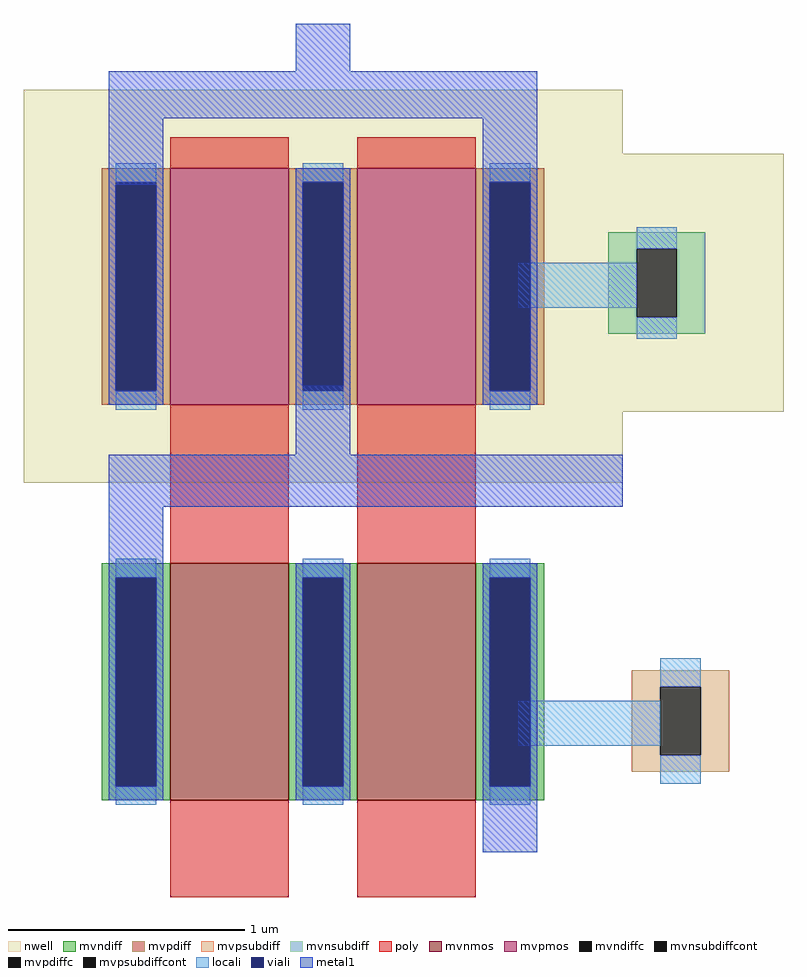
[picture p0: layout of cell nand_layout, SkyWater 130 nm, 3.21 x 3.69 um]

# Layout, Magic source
magic
tech sky130A
magscale 1 2
<< nwell >>
rect 202 -178 708 -124
rect 202 -396 844 -178
rect 202 -456 708 -396
<< mvpsubdiff >>
rect 716 -628 798 -614
rect 716 -686 740 -628
rect 774 -686 798 -628
rect 716 -700 798 -686
<< mvnsubdiff >>
rect 696 -258 778 -244
rect 696 -316 720 -258
rect 754 -316 778 -258
rect 696 -330 778 -316
<< mvpsubdiffcont >>
rect 740 -686 774 -628
<< mvnsubdiffcont >>
rect 720 -316 754 -258
<< poly >>
rect 326 -498 426 -416
rect 484 -498 584 -416
rect 326 -806 426 -750
rect 484 -806 584 -750
<< locali >>
rect 720 -258 754 -240
rect 620 -308 720 -270
rect 720 -334 754 -316
rect 740 -628 774 -604
rect 620 -678 740 -640
rect 740 -710 774 -686
<< metal1 >>
rect 432 -108 478 -68
rect 274 -148 636 -108
rect 274 -204 320 -148
rect 590 -196 636 -148
rect 432 -432 478 -374
rect 274 -476 708 -432
rect 274 -536 320 -476
rect 590 -768 636 -724
use sky130_fd_pr__nfet_g5v0d10v5_42CDKK  sky130_fd_pr__nfet_g5v0d10v5_42CDKK_0
transform 1 0 455 0 1 -624
box -187 -126 187 126
use sky130_fd_pr__pfet_g5v0d10v5_UQ88Y8  sky130_fd_pr__pfet_g5v0d10v5_UQ88Y8_0
transform 1 0 455 0 1 -290
box -253 -166 253 166
<< end >>

# cell sky130_fd_pr__nfet_g5v0d10v5_42CDKK: kit device sky130_fd_pr__nfet_g5v0d10v5, w 1 l 0.5 m 1 nf 2 diffcov 100 polycov 100 guard 0 glc 1 grc 1 gtc 1 gbc 1 tbcov 100 rlcov 100 topc 0 botc 0 poverlap 0 doverlap 1 lmin 0.50 wmin 0.42 compatible {sky130_fd_pr__nfet_01v8 sky130_fd_pr__nfet_01v8_lvt sky130_fd_bs_flash__special_sonosfet_star sky130_fd_pr__nfet_g5v0d10v5 sky130_fd_pr__nfet_05v0_nvt sky130_fd_pr__nfet_03v3_nvt} full_metal 1 viasrc 100 viadrn 100 viagate 100 viagb 0 viagr 0 viagl 0 viagt 0

# cell sky130_fd_pr__pfet_g5v0d10v5_UQ88Y8: kit device sky130_fd_pr__pfet_g5v0d10v5, w 1 l 0.5 m 1 nf 2 diffcov 100 polycov 100 guard 0 glc 1 grc 1 gtc 1 gbc 1 tbcov 100 rlcov 100 topc 0 botc 0 poverlap 0 doverlap 1 lmin 0.50 wmin 0.42 compatible {sky130_fd_pr__pfet_01v8 sky130_fd_pr__pfet_01v8_lvt sky130_fd_pr__pfet_01v8_hvt sky130_fd_pr__pfet_g5v0d10v5} full_metal 1 viasrc 100 viadrn 100 viagate 100 viagb 0 viagr 0 viagl 0 viagt 0
